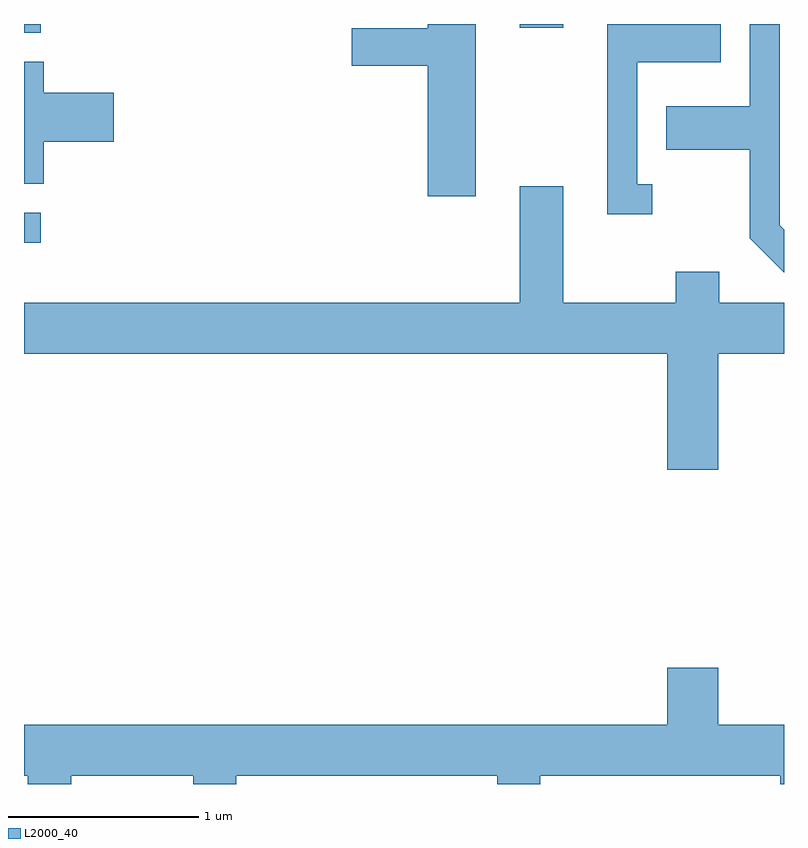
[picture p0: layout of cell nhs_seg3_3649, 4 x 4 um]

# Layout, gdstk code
import gdstk
lib = gdstk.Library(unit=1e-6, precision=1e-09)
def R(c, l, rs):  # rectangles x0, y0, x1, y1
    for r in rs: c.add(gdstk.rectangle(r[:2], r[2:], *l))
def P(c, l, *ps):  # polygons
    for p in ps: c.add(gdstk.Polygon(p, *l))
L2000_40 = (2000, 40)

nhs_seg3_3649 = lib.new_cell('nhs_seg3_3649')
R(nhs_seg3_3649, L2000_40, [(291.611,1208.741,291.698,1208.899), (291.611,1209.846,291.698,1209.892), (294.221,1209.871,294.449,1209.892)])
P(nhs_seg3_3649, L2000_40, [(293.989,1209.892),(293.736,1209.892),(293.736,1209.869),(293.336,1209.869),(293.336,1209.671),(293.736,1209.671),(293.736,1208.986),(293.989,1208.986)],
  [(294.918,1209.049),(294.839,1209.049),(294.839,1209.691),(295.279,1209.691),(295.279,1209.892),(294.681,1209.892),(294.681,1208.891),(294.918,1208.891)],
  [(295.611,1208.81),(295.589,1208.832),(295.589,1209.892),(295.431,1209.892),(295.431,1209.459),(294.991,1209.459),(294.991,1209.231),(295.431,1209.231),(295.431,1208.764),(295.609,1208.586),(295.611,1208.586)],
  [(291.714,1209.271),(292.084,1209.271),(292.084,1209.529),(291.714,1209.529),(291.714,1209.694),(291.611,1209.694),(291.611,1209.051),(291.714,1209.051)],
  [(295.264,1208.156),(295.611,1208.156),(295.611,1208.424),(295.269,1208.424),(295.269,1208.589),(295.041,1208.589),(295.041,1208.424),(294.449,1208.424),(294.449,1209.039),(294.221,1209.039),(294.221,1208.424),(291.611,1208.424),(291.611,1208.156),(294.996,1208.156),(294.996,1207.546),(295.264,1207.546)],
  [(291.859,1205.936),(292.501,1205.936),(292.501,1205.892),(292.729,1205.892),(292.729,1205.936),(294.101,1205.936),(294.101,1205.892),(294.329,1205.892),(294.329,1205.936),(295.591,1205.936),(295.591,1205.892),(295.611,1205.892),(295.611,1206.204),(295.264,1206.204),(295.264,1206.504),(294.996,1206.504),(294.996,1206.204),(291.611,1206.204),(291.611,1205.936),(291.631,1205.936),(291.631,1205.892),(291.859,1205.892)])

lib.write_gds('nhs_seg3_3649.gds')
